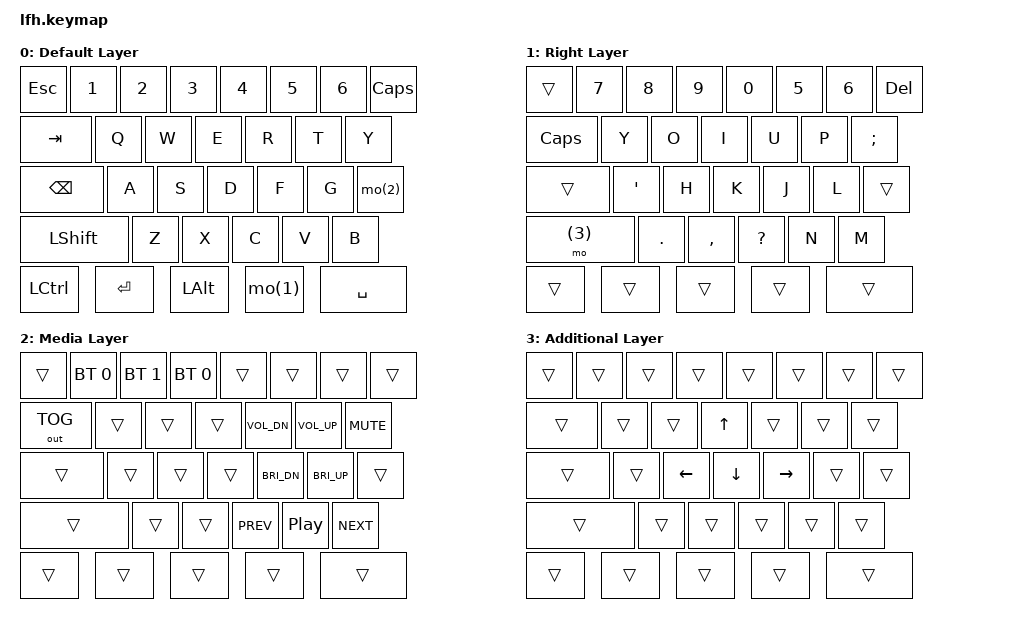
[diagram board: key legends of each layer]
/*
 * Copyright (c) 2020 The ZMK Contributors
 *
 * SPDX-License-Identifier: MIT
 */

#include <behaviors.dtsi>
#include <dt-bindings/zmk/keys.h>
#include <dt-bindings/zmk/outputs.h>
#include <dt-bindings/zmk/bt.h>

/ {
    combos {
        compatible = "zmk,combos";
        combo_studio_unlock {
            timeout-ms = <50>;
            key-positions = <0 1>;  
            bindings = <&studio_unlock>;
        };
    };

    keymap {
        compatible = "zmk,keymap";
        

        default_layer {
            display-name = "Default Layer";

            bindings = <
                &kp ESC     &kp N1      &kp N2      &kp N3      &kp N4      &kp N5      &kp N6      &kp CAPS
                &kp TAB     &kp Q       &kp W       &kp E       &kp R       &kp T       &kp Y
                &kp BSPC    &kp A       &kp S       &kp D       &kp F       &kp G       &mo(2)
                &kp LSHFT   &kp Z       &kp X       &kp C       &kp V       &kp B
                &kp LCTRL   &kp ENTER    &kp LALT    &mo(1)      &kp SPACE       
            >;

        };

        Right_layer {
            display-name = "Right Layer";
            bindings = <
                &trans      &kp N7      &kp N8      &kp N9      &kp N0      &kp N5      &kp N6      &kp DEL
                &kp CAPS    &kp Y       &kp O       &kp I       &kp U       &kp P       &kp SEMI
                &trans      &kp SQT     &kp H       &kp K       &kp J       &kp L       &trans
                &mo (3)     &kp DOT     &kp COMMA   &kp QMARK   &kp N       &kp M
                &trans      &trans      &trans      &trans      &trans       
            >;
        };

        media_layer {
            display-name = "Media Layer";
            bindings = <
                &trans     &bt BT_SEL 0 &bt BT_SEL 1 &bt BT_SEL 0 &trans      &trans      &trans      &trans
                &out OUT_TOG &trans      &trans      &trans      &kp C_VOL_DN &kp C_VOL_UP &kp C_MUTE
                &trans      &trans      &trans      &trans      &kp C_BRI_DN   &kp C_BRI_UP   &trans
                &trans      &trans      &trans      &kp C_PREV &kp C_PP &kp C_NEXT
                &trans      &trans      &trans      &trans      &trans       
            >;
        };
        add_layer {
            display-name = "Additional Layer";
            bindings = <
                &trans      &trans      &trans      &trans      &trans      &trans      &trans      &trans
                &trans      &trans      &trans      &kp UP      &trans      &trans      &trans
                &trans      &trans      &kp LEFT    &kp DOWN    &kp RIGHT   &trans      &trans
                &trans      &trans      &trans      &trans      &trans      &trans
                &trans      &trans      &trans      &trans      &trans       
            >;
        };
    };
};
